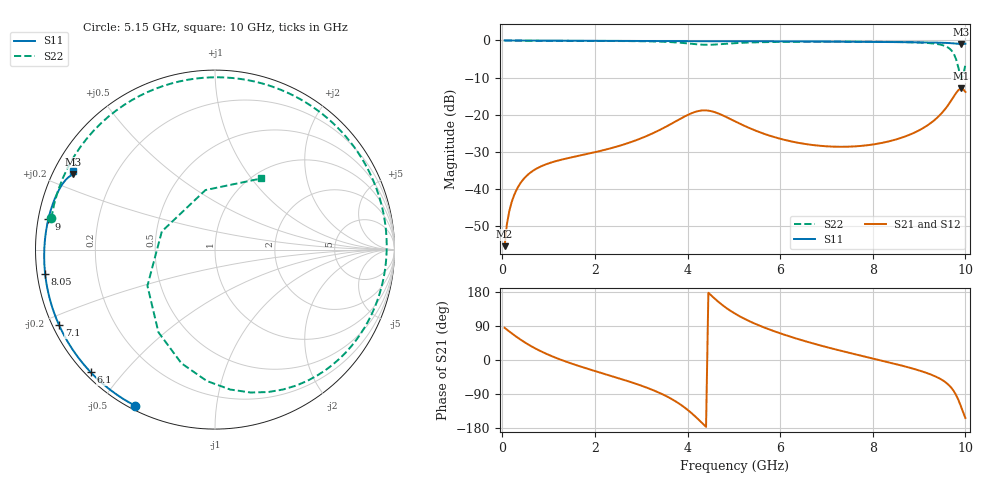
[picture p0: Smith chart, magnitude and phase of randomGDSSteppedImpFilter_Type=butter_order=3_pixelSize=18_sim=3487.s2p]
! freq	dB(S11)	phase(S11)	dB(S12)	phase(S12)
!  dB(S21)	phase(S21)	dB(S22)	phase(S22)
!S-par simulation data
#  GHz  S  DB  R 50
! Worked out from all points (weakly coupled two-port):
!   200 points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, 50 MHz to 10 GHz, reference 50 ohm
!   highest |S21| = -12.91 dB at 9.9 GHz (marker M1); lowest = -55.3 dB at 50 MHz (marker M2)
!   lowest |S11| = -1.0 dB at 9.9 GHz (marker M3), VSWR 18.23, Z = 2.91 + j12.4 ohm
!   |S11| at or under -10 dB: nowhere
!   |S22| runs from -10.1 to 0.0 dB; largest |S21 - S12| = 0
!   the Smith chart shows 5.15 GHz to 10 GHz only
!   S11 on the Smith chart (normalised r, x): 5.15 GHz: 0.02, -0.61; 6.1 GHz: 0.02, -0.41; 7.1 GHz: 0.02, -0.23; 8.05 GHz: 0.02, -0.07; 9 GHz: 0.03, +0.09; 10 GHz: 0.05, +0.26
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0.05  -0.00 -1.3  -55.29 84.9  -55.29 84.9  -0.01 -8.5
0.25  -0.01 -6.4  -41.75 66.2  -41.75 66.2  -0.05 -40.9
0.65  -0.02 -16.5  -35.13 34.6  -35.13 34.6  -0.10 -94.2
1.15  -0.04 -28.9  -32.46 6.1  -32.46 6.1  -0.11 -139.5
1.75  -0.06 -43.6  -30.73 -19.6  -30.73 -19.6  -0.12 -177.3
2.6  -0.09 -63.5  -28.05 -51.4  -28.05 -51.4  -0.16 137.7
3.4  -0.12 -81.4  -24.05 -87.1  -24.05 -87.1  -0.32 85.3
3.75  -0.15 -88.9  -21.71 -109.7  -21.71 -109.7  -0.52 49.4
4.1  -0.19 -96.2  -19.50 -141.6  -19.50 -141.6  -0.91 -5.7
4.5  -0.21 -104.2  -18.97 171.7  -18.97 171.7  -1.15 -91.5
4.75  -0.21 -109.1  -20.07 145.3  -20.07 145.3  -0.96 -139.0
5.05  -0.20 -115.0  -21.89 120.6  -21.89 120.6  -0.71 179.9
5.15  -0.20 -117.0  -22.50 113.8  -22.50 113.8  -0.65 169.2
6.1  -0.24 -135.3  -26.74 66.3  -26.74 66.3  -0.38 102.0
6.7  -0.28 -146.6  -28.10 44.1  -28.10 44.1  -0.33 72.1
7.1  -0.31 -154.1  -28.52 30.9  -28.52 30.9  -0.32 53.8
8.05  -0.39 -172.0  -27.87 2.6  -27.87 2.6  -0.35 12.8
8.35  -0.42 -177.7  -27.12 -6.2  -27.12 -6.2  -0.39 -0.1
9  -0.50 169.6  -24.16 -27.6  -24.16 -27.6  -0.56 -30.1
9.65  -0.70 156.1  -16.97 -67.1  -16.97 -67.1  -2.11 -83.8
9.9  -0.95 152.1  -12.91 -121.0  -12.91 -121.0  -10.09 161.1
10  -0.88 151.2  -13.84 -153.0  -13.84 -153.0  -6.51 57.0
